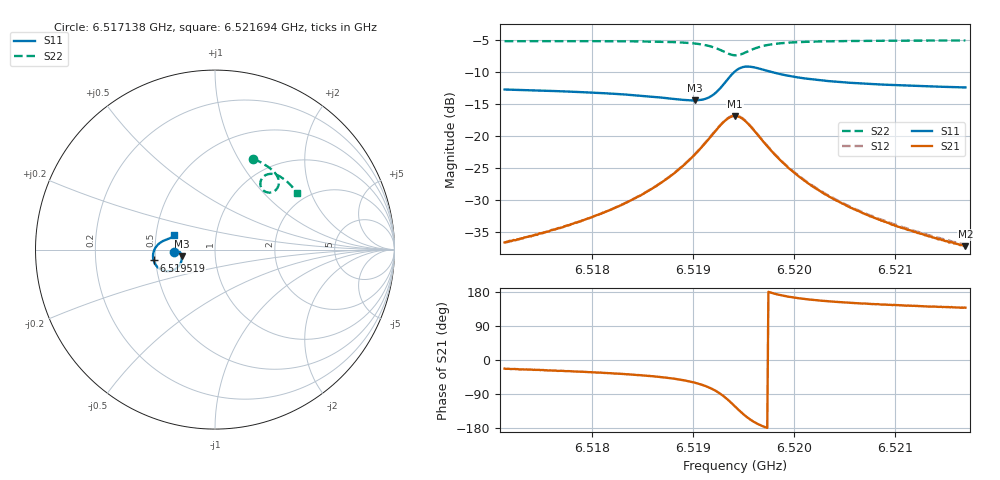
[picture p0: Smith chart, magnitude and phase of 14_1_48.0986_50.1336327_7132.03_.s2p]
#  HZ  S  RI  R  50.00
! Rohde & Schwarz Vector Network Analyzer
! Rohde-Schwarz,ZNB20-2Port,1311601062101988,3.16
! Created: UTC 12/23/2023, 3:35:59 AM
! freq[Hz]  re:S11  im:S11  re:S21  im:S21  re:S12  im:S12  re:S22  im:S22
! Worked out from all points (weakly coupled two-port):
!   401 points, 6.517138 GHz to 6.521694 GHz, reference 50 ohm
!   highest |S21| = -16.88 dB at 6.519416 GHz (marker M1); lowest = -37.2 dB at 6.521694 GHz (marker M2)
!   lowest |S11| = -14.5 dB at 6.519018 GHz (marker M3), VSWR 1.47, Z = 34.3 - j2.62 ohm
!   |S11| at or under -10 dB: start of sweep to 6.519411 GHz; 6.519774 GHz to end of sweep
!   |S22| runs from -7.4 to -5.1 dB; largest |S21 - S12| = 0.0044
!   S11 on the Smith chart (normalised r, x): 6.517138 GHz: 0.63, -0.02; 6.519519 GHz: 0.49, -0.07; 6.521694 GHz: 0.63, +0.10
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6.5171384e9  -0.23 -0.0141  0.0136 -0.00572  0.0137 -0.00532  0.214 0.5052
6.517537e9  -0.2253 -0.00839  0.0157 -0.00815  0.016 -0.00749  0.2433 0.4923
6.5179015e9  -0.2196 -0.00461  0.0187 -0.0112  0.0191 -0.0107  0.2703 0.4779
6.5182887e9  -0.2115 -0.00308  0.023 -0.0172  0.0237 -0.0164  0.2994 0.459
6.5184937e9  -0.2058 -0.00475  0.0264 -0.0225  0.0273 -0.0219  0.315 0.4464
6.5186645e9  -0.1998 -0.00856  0.03 -0.0294  0.031 -0.0286  0.3286 0.4336
6.5188354e9  -0.1927 -0.0171  0.0337 -0.0405  0.0352 -0.0397  0.342 0.4165
6.5190176e9  -0.1857 -0.0369  0.036 -0.0616  0.038 -0.061  0.3537 0.3898
6.5191201e9  -0.1859 -0.0573  0.0326 -0.0813  0.035 -0.0809  0.3557 0.3682
6.5191998e9  -0.1933 -0.0798  0.0223 -0.1015  0.0255 -0.1017  0.3499 0.3474
6.5193251e9  -0.2383 -0.117  -0.0234 -0.1309  -0.0199 -0.1327  0.3146 0.3185
6.5194162e9  -0.2984 -0.1127  -0.0771 -0.1207  -0.0742 -0.124  0.2728 0.3272
6.5194731e9  -0.3292 -0.087  -0.1017 -0.0949  -0.0997 -0.0985  0.2559 0.3492
6.5195187e9  -0.3421 -0.0604  -0.1101 -0.0701  -0.109 -0.0739  0.2526 0.3698
6.5196326e9  -0.3391 -0.00402  -0.1014 -0.0223  -0.1014 -0.0254  0.27 0.4066
6.5197579e9  -0.3174 0.0282  -0.0793 0.00178  -0.08 -0.000499  0.2984 0.4207
6.5199629e9  -0.289 0.0482  -0.0532 0.0131  -0.0541 0.0116  0.3339 0.4193
6.5201793e9  -0.2705 0.0562  -0.0379 0.0147  -0.0388 0.0137  0.3593 0.4088
6.5205437e9  -0.2525 0.0631  -0.0244 0.0135  -0.0252 0.013  0.3902 0.3879
6.5209423e9  -0.2406 0.0688  -0.0172 0.0117  -0.0177 0.0114  0.4165 0.3642
6.5213751e9  -0.2315 0.0746  -0.0125 0.0101  -0.0131 0.01  0.4403 0.3379
6.521694e9  -0.2257 0.0788  -0.0102 0.00924  -0.0107 0.00924  0.4561 0.3181
